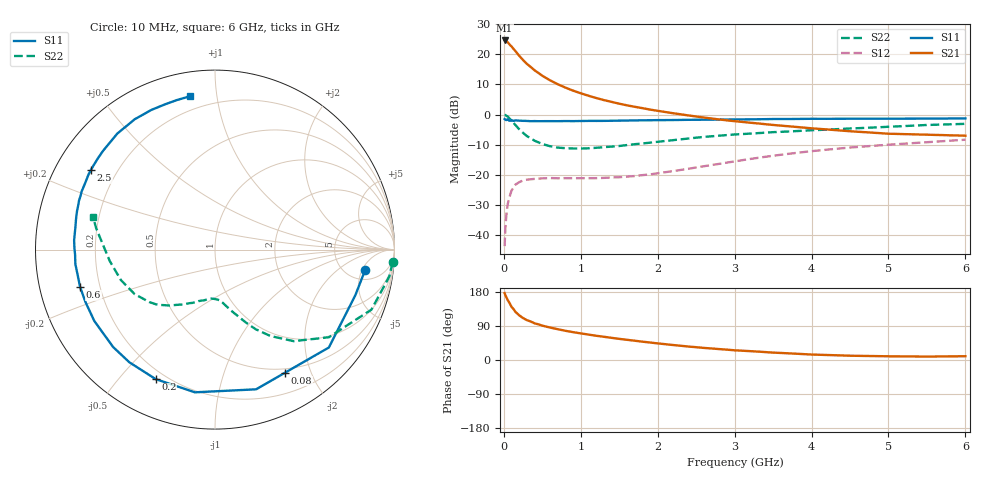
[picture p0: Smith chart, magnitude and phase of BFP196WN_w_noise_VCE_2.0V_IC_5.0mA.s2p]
! Infineon Technologies  Discrete & RF Semiconductors
! BFP196WN
! VCE =  2.0 V,  IC =  5.0 mA
! Common Emitter S-Parameters:  Jan 2017
# GHz  S  MA  R  50
!  f  S11  S21  S12  S22
! GHz  MAG  ANG  MAG  ANG  MAG  ANG  MAG  ANG
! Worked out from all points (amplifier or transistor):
!   77 points, 10 MHz to 6 GHz, reference 50 ohm
!   highest |S21| = 24.6 dB at 10 MHz (marker M1)
!   |S21| within 3 dB of that: start of sweep to 132.7 MHz
!   unconditionally stable (mu >= 1): 1.339 GHz to 2.781 GHz
!   at 130 MHz: K = 0.12, MSG = 22.8 dB, |S12| = -24.0 dB
!   at 2.2 GHz: K = 1.11, MAG = 7.6 dB, |S12| = -18.7 dB
!   at 6 GHz: K = 0.94, MSG = 0.7 dB, |S12| = -8.3 dB
!   lowest NFmin = 1.08 dB at 450 MHz
!   S11 on the Smith chart (normalised r, x): 10 MHz: 7.28, -5.74; 80 MHz: 0.45, -1.63; 200 MHz: 0.16, -0.63; 600 MHz: 0.13, -0.13; 2.5 GHz: 0.11, +0.29; 6 GHz: 0.12, +0.84
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0.01  0.8445 -7.7  16.95 176.6  0.0066 86.1  0.9916 -4.1
0.02  0.8222 -18.0  16.49 171.0  0.0132 82.6  0.9828 -8.7
0.05  0.8367 -40.7  15.87 158.1  0.0327 70.2  0.9336 -21.0
0.08  0.7891 -60.3  14.28 148.1  0.0457 58.6  0.8449 -30.3
0.1  0.8114 -73.6  13.51 140.3  0.055 54.0  0.8005 -37.6
0.15  0.803 -98.0  11.31 127.3  0.0691 42.9  0.6731 -49.3
0.2  0.7936 -114.6  9.443 117.8  0.0759 36.2  0.5722 -57.3
0.25  0.7886 -127.2  8.027 110.6  0.0809 31.1  0.4987 -62.9
0.3  0.7854 -136.3  6.931 105.2  0.0835 27.7  0.4406 -67.1
0.4  0.7812 -149.4  5.416 96.8  0.0861 23.8  0.3689 -73.3
0.5  0.7786 -158.0  4.404 90.7  0.0877 21.6  0.326 -78.1
0.6  0.7799 -164.5  3.708 85.6  0.0888 21.0  0.2995 -81.7
0.7  0.7783 -169.7  3.191 81.3  0.0882 21.1  0.2839 -84.6
0.8  0.7821 -174.1  2.805 77.1  0.0885 22.2  0.2779 -87.8
1.1  0.7866 176.2  2.055 67.1  0.0884 26.0  0.2765 -96.6
1.5  0.7944 166.6  1.517 55.8  0.0917 34.7  0.3019 -107.9
2.1  0.8113 154.5  1.104 41.7  0.1111 48.5  0.3654 -122.9
2.5  0.8212 147.2  0.931 33.8  0.133 54.3  0.4142 -131.5
3.1  0.8329 136.9  0.757 24.5  0.1757 57.0  0.4761 -143.5
4.1  0.8523 120.2  0.58 13.8  0.2551 52.2  0.5567 -164.5
5.1  0.8563 107.9  0.479 9.6  0.3233 43.9  0.6371 175.2
6  0.8655 99.3  0.447 10.0  0.3836 36.3  0.7031 165.0
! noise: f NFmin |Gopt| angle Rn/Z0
0.45  1.08  0.44  121  0.07
0.9  1.21  0.58  158  0.06
1.9  2.72  0.75  203  0.15
2.4  3.62  0.76  211  0.29
